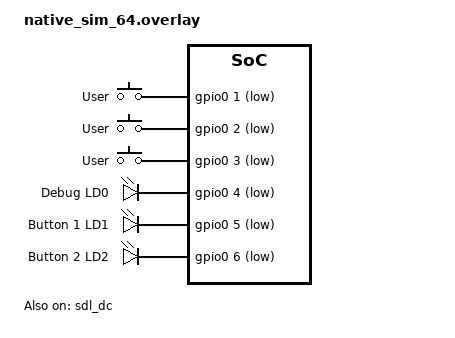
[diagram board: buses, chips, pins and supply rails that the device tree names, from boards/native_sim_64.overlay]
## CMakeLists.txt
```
# SPDX-License-Identifier: Apache-2.0

cmake_minimum_required(VERSION 3.20.0)

find_package(Zephyr REQUIRED HINTS $ENV{ZEPHYR_BASE})
project(cfb)

find_package(Git QUIET)

set(ASYNTH_BUILD_ID "b:unknown")
if(GIT_FOUND)
	execute_process(
		COMMAND ${GIT_EXECUTABLE} -C ${CMAKE_CURRENT_SOURCE_DIR}/.. rev-parse --short=7 HEAD
		RESULT_VARIABLE GIT_HASH_RESULT
		OUTPUT_VARIABLE GIT_HASH
		OUTPUT_STRIP_TRAILING_WHITESPACE
		ERROR_QUIET
	)

	if(GIT_HASH_RESULT EQUAL 0 AND NOT "${GIT_HASH}" STREQUAL "")
		set(ASYNTH_BUILD_ID "b:${GIT_HASH}")

		execute_process(
			COMMAND ${GIT_EXECUTABLE} -C ${CMAKE_CURRENT_SOURCE_DIR}/.. diff --quiet
			RESULT_VARIABLE GIT_DIRTY_RESULT
			OUTPUT_QUIET
			ERROR_QUIET
		)

		if(GIT_DIRTY_RESULT EQUAL 1)
			string(APPEND ASYNTH_BUILD_ID "*")
		endif()
	endif()
endif()

target_sources(app PRIVATE
	src/main.c
	src/asynth_cv.c
	src/asynth_midi.c
	src/asynth_osc_bridge.c
	src/asynth_display.c
	src/asynth_ui.c
)

target_compile_definitions(app PRIVATE ASYNTH_BUILD_ID="${ASYNTH_BUILD_ID}")
```

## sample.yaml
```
common:
  harness: asynthosc
  tags: asynthosc
sample:
  description: Asynthosc app testing
  name: App test
tests:
  app.test:
    platform_allow:
      - asynthosc
    extra_args: CONFIG_TEST=y
    tags: simple test
  sample.osc_sock_client:
    platform_allow:
      - asynthosc
    tags: sock client test
```

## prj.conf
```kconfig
CONFIG_STDOUT_CONSOLE=y
CONFIG_USE_DT_CODE_PARTITION=y

CONFIG_HEAP_MEM_POOL_SIZE=16384
CONFIG_MAIN_STACK_SIZE=4096
CONFIG_SYSTEM_WORKQUEUE_STACK_SIZE=2048

CONFIG_DISPLAY=y

CONFIG_LOG=y
CONFIG_PRINTK=y

CONFIG_CFB_LOG_LEVEL_INF=y
CONFIG_CHARACTER_FRAMEBUFFER=y

#CONFIG_DISPLAY_LOG_LEVEL_DBG=y

CONFIG_GPIO=y
CONFIG_ADC=y
CONFIG_DAC=y
CONFIG_UART_INTERRUPT_DRIVEN=y

# Persistent settings storage for menu-configured network parameters
CONFIG_FLASH=y
CONFIG_FLASH_MAP=y
CONFIG_SETTINGS=y
CONFIG_SETTINGS_RUNTIME=y
CONFIG_FCB=y
CONFIG_SETTINGS_FCB=y
CONFIG_SETTINGS_NVS=n
CONFIG_MPU_ALLOW_FLASH_WRITE=y

# TinyOSC library
CONFIG_TINYOSC=y

# Temporarily disable shell to isolate application boot.
# CONFIG_SHELL is not set

# Networking - Reactivated with PHY fix
CONFIG_NETWORKING=y
CONFIG_NET_L2_ETHERNET=y
CONFIG_MDIO=y
CONFIG_NET_IPV4=y
CONFIG_NET_IPV4_AUTO=y
CONFIG_NET_UDP=y
CONFIG_NET_DHCPV4=y
CONFIG_NET_SOCKETS=y
CONFIG_NET_SOCKETS_POLL_MAX=4
CONFIG_POSIX_API=y
CONFIG_NET_CONNECTION_MANAGER=y
CONFIG_ETH_STM32_HAL_RX_THREAD_STACK_SIZE=4096
CONFIG_ETH_STM32_HAL_RX_THREAD_PREEMPTIVE=n
CONFIG_ETH_STM32_HW_CHECKSUM=n
CONFIG_NET_PKT_RX_COUNT=16
CONFIG_NET_PKT_TX_COUNT=16
CONFIG_NET_BUF_RX_COUNT=80
CONFIG_NET_BUF_TX_COUNT=80
CONFIG_NET_CONTEXT_NET_PKT_POOL=y
CONFIG_NET_MAX_CONTEXTS=10
CONFIG_NET_IF_MAX_IPV4_COUNT=3
CONFIG_NET_CONFIG_SETTINGS=y
CONFIG_NET_CONFIG_MY_IPV4_ADDR="192.168.1.42"
CONFIG_NET_CONFIG_PEER_IPV4_ADDR="192.168.1.142"
CONFIG_NET_CONFIG_INIT_TIMEOUT=0
# Keep shell off while the app-side network reintegration is stabilized.
# CONFIG_NET_SHELL is not set
# CONFIG_NET_CONFIG_AUTO_INIT is not set

# Enable ETH driver debugging (comment out for production)
# CONFIG_ETHERNET_LOG_LEVEL_DBG=y

# Runtime timing metrics for show-mode validation
CONFIG_ASYNTH_TIMING_DIAG=y
```

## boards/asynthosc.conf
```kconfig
CONFIG_SSD1306_DEFAULT_CONTRAST=50
CONFIG_SSD1306=y
```

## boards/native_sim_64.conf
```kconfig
CONFIG_SDL_DISPLAY_DEFAULT_PIXEL_FORMAT_MONO01=y
CONFIG_INPUT=y
CONFIG_INPUT_LOG_LEVEL_DBG=y
```

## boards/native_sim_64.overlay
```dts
/*
 * Copyright (c) 2024, Eve Redero
 *
 * SPDX-License-Identifier: Apache-2.0
 */

#include <zephyr/dt-bindings/input/input-event-codes.h>
#include <zephyr/dt-bindings/lvgl/lvgl.h>

/ {
	gpio_keys {
		compatible = "gpio-keys";
		right_button: button_0 {
			label = "User";
			gpios = <&gpio0 1 GPIO_ACTIVE_LOW>;
			zephyr,code = <INPUT_KEY_RIGHT>;
		};
		left_button: button_1 {
			label = "User";
			gpios = <&gpio0 2 GPIO_ACTIVE_LOW>;
			zephyr,code = <INPUT_KEY_LEFT>;
		};
		rot_button: button_2 {
			label = "User";
			gpios = <&gpio0 3 GPIO_ACTIVE_LOW>;
			zephyr,code = <INPUT_KEY_ENTER>;
		};
	};
	leds {
		debug_led: led_0 {
			gpios = <&gpio0 4 GPIO_ACTIVE_LOW>;
			label = "Debug LD0";
		};
		right_button_led: led_1 {
			gpios = <&gpio0 5 GPIO_ACTIVE_LOW>;
			label = "Button 1 LD1";
		};
		left_button_led: led_2 {
			gpios = <&gpio0 6 GPIO_ACTIVE_LOW>;
			label = "Button 2 LD2";
		};
	};
};


&gpio0 {
	ngpios = <6>;

	sdl_gpio {
		status = "okay";
		compatible = "zephyr,gpio-emul-sdl";
		/* Scancodes correspond to USB HID decimal codes */
		/* not the usual AT-101 input codes. */
		/* Here, we map Left, Right, Enter */
		/* from HID keybord to GPIO0 1 to 3 */
		/* 79: Right, 80: Left, 40: Enter */
		scancodes = <0 79 80 40 2 3 4>;
	};
};

&sdl_dc {
        compatible = "zephyr,sdl-dc";
        status = "okay";
        height = <64>;
        width = <128>;
};
```

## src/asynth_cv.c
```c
/* SPDX-License-Identifier: Apache-2.0 */
/* Copyright (c) 2026 ASynthOSC contributors */

/*
 * Asynth CV/ADC helpers.
 */

#include <app/asynth_cv.h>

#include <zephyr/device.h>
#include <zephyr/display/cfb.h>
#include <zephyr/drivers/adc.h>
#include <zephyr/sys/util.h>
#include <app/asynth_osc_bridge.h>

#define CV_BAR_MAX_PIXELS     28U
#define CV_ADC_RESOLUTION     12U
#define CV_ADC_MAX_RAW        ((1U << CV_ADC_RESOLUTION) - 1U)

#define CV_CONFIG_NODE DT_PATH(zephyr_user)

#if !DT_NODE_EXISTS(CV_CONFIG_NODE)
#error "Missing devicetree node /zephyr,user"
#endif

BUILD_ASSERT(DT_NODE_HAS_PROP(CV_CONFIG_NODE, cv_channel_ids),
	     "Missing /zephyr,user cv-channel-ids");
BUILD_ASSERT(DT_NODE_HAS_PROP(CV_CONFIG_NODE, cv_display_remap),
	     "Missing /zephyr,user cv-display-remap");
BUILD_ASSERT(DT_PROP_LEN(CV_CONFIG_NODE, cv_channel_ids) == ASYNTH_CV_CHANNEL_COUNT,
	     "cv-channel-ids length must match ASYNTH_CV_CHANNEL_COUNT");
BUILD_ASSERT(DT_PROP_LEN(CV_CONFIG_NODE, cv_display_remap) == ASYNTH_CV_CHANNEL_COUNT,
	     "cv-display-remap length must match ASYNTH_CV_CHANNEL_COUNT");

#define CV_CHANNEL_ID_FROM_DTS(idx, _) DT_PROP_BY_IDX(CV_CONFIG_NODE, cv_channel_ids, idx)
#define CV_DISPLAY_REMAP_FROM_DTS(idx, _) DT_PROP_BY_IDX(CV_CONFIG_NODE, cv_display_remap, idx)

static const uint8_t cv_adc_channel_ids[ASYNTH_CV_CHANNEL_COUNT] = {
	LISTIFY(ASYNTH_CV_CHANNEL_COUNT, CV_CHANNEL_ID_FROM_DTS, (,))
};

/* ADC index -> UI and OSC CV index remap. */
static const uint8_t cv_display_remap[ASYNTH_CV_CHANNEL_COUNT] = {
	LISTIFY(ASYNTH_CV_CHANNEL_COUNT, CV_DISPLAY_REMAP_FROM_DTS, (,))
};

static const struct device *cv_adc_dev = DEVICE_DT_GET(DT_NODELABEL(adc1));
static const struct device *oled;

static int16_t cv_raw_samples[ASYNTH_CV_CHANNEL_COUNT];
static float cv_norm_values[ASYNTH_CV_CHANNEL_COUNT] = { 0.0f, 0.0f, 0.0f, 0.0f };
static float cv_prev_sent_values[ASYNTH_CV_CHANNEL_COUNT] = { -1.0f, -1.0f, -1.0f, -1.0f };
static uint8_t cv_pixels[ASYNTH_CV_CHANNEL_COUNT] = { 0, 0, 0, 0 };

static struct adc_sequence cv_adc_sequence = {
	.buffer = cv_raw_samples,
	.buffer_size = sizeof(cv_raw_samples),
	.resolution = CV_ADC_RESOLUTION,
	.channels = 0U,
};

static float clampf(float value, float min_val, float max_val)
{
	if (value < min_val) {
		return min_val;
	}
	if (value > max_val) {
		return max_val;
	}
	return value;
}

static float cv_raw_to_voltage(int16_t raw)
{
	int32_t safe_raw = raw;

	if (safe_raw < 0) {
		safe_raw = 0;
	}
	if (safe_raw > (int32_t)CV_ADC_MAX_RAW) {
		safe_raw = (int32_t)CV_ADC_MAX_RAW;
	}

	return ((float)safe_raw / (float)CV_ADC_MAX_RAW) * 3.3f;
}

static float cv_voltage_to_normalized(float voltage)
{
	return clampf(voltage / 3.3f, 0.0f, 1.0f);
}

static uint8_t cv_normalized_to_pixels(float normalized)
{
	float clamped = clampf(normalized, 0.0f, 1.0f);
	float scaled = clamped * (float)CV_BAR_MAX_PIXELS;

	return (uint8_t)(scaled + 0.5f);
}

static int cv_validate_remap(const uint8_t *remap, const char *name)
{
	uint32_t seen = 0U;

	for (int i = 0; i < ASYNTH_CV_CHANNEL_COUNT; i++) {
		if (remap[i] >= ASYNTH_CV_CHANNEL_COUNT) {
			printk("Invalid CV %s remap index %d -> %u\n",
			       name, i, (unsigned int)remap[i]);
			return -EINVAL;
		}

		if ((seen & BIT(remap[i])) != 0U) {
			printk("Duplicate CV %s remap value at index %d -> %u\n",
			       name, i, (unsigned int)remap[i]);
			return -EINVAL;
		}

		seen |= BIT(remap[i]);
	}

	return 0;
}

void asynth_cv_reset_display_cache(void)
{
	for (int i = 0; i < ASYNTH_CV_CHANNEL_COUNT; i++) {
		cv_pixels[i] = 0U;
	}
}

int asynth_cv_init(const struct device *display_dev)
{
	struct adc_channel_cfg channel_cfg = {
		.gain = ADC_GAIN_1,
		.reference = ADC_REF_INTERNAL,
		.acquisition_time = ADC_ACQ_TIME_DEFAULT,
	};
	int ret;

	oled = display_dev;

	ret = cv_validate_remap(cv_display_remap, "display");
	if (ret < 0) {
		return ret;
	}

	if (!device_is_ready(cv_adc_dev)) {
		printk("ADC device %s is not ready\n", cv_adc_dev->name);
		return -ENODEV;
	}

	for (int i = 0; i < ASYNTH_CV_CHANNEL_COUNT; i++) {
		channel_cfg.channel_id = cv_adc_channel_ids[i];
#if defined(CONFIG_ADC_CONFIGURABLE_INPUTS)
		channel_cfg.input_positive = cv_adc_channel_ids[i];
#endif
		ret = adc_channel_setup(cv_adc_dev, &channel_cfg);
		if (ret < 0) {
			printk("Failed to setup ADC channel %d (%d)\n", cv_adc_channel_ids[i], ret);
			return ret;
		}
		cv_adc_sequence.channels |= BIT(cv_adc_channel_ids[i]);
	}

	return 0;
}

int asynth_cv_sample_and_process(float hysteresis_norm)
{
	int ret = adc_read(cv_adc_dev, &cv_adc_sequence);

	if (ret < 0) {
		printk("ADC read failed (%d)\n", ret);
		return ret;
	}

	for (int i = 0; i < ASYNTH_CV_CHANNEL_COUNT; i++) {
		float voltage = cv_raw_to_voltage(cv_raw_samples[i]);
		float normalized = cv_voltage_to_normalized(voltage);
		float delta;

		cv_norm_values[i] = normalized;

		delta = normalized - cv_prev_sent_values[i];
		if (delta < 0.0f) {
			delta = -delta;
		}

		if (cv_prev_sent_values[i] < 0.0f || delta >= hysteresis_norm) {
			cv_prev_sent_values[i] = normalized;
			uint8_t cv_osc_idx = cv_display_remap[i];
			ret = asynth_osc_send_cv(cv_osc_idx, normalized);
			if (ret < 0) {
				printk("OSC send CV%d failed (%d)\n", cv_osc_idx + 1, ret);
			}
		}
	}

	return 0;
}

void asynth_cv_refresh_bars(void)
{
	if (!oled || !device_is_ready(oled)) {
		return;
	}

	for (int adc_idx = 0; adc_idx < ASYNTH_CV_CHANNEL_COUNT; adc_idx++) {
		uint8_t display_pos = cv_display_remap[adc_idx];
		uint8_t new_pixels = cv_normalized_to_pixels(cv_norm_values[adc_idx]);

		if (new_pixels == cv_pixels[display_pos]) {
			continue;
		}

		cfb_invert_area(oled, 82 + display_pos * 12, 18, 7, 29 - cv_pixels[display_pos]);
		cv_pixels[display_pos] = new_pixels;
		cfb_invert_area(oled, 82 + display_pos * 12, 18, 7, 29 - cv_pixels[display_pos]);
	}
}
```

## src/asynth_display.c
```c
/* SPDX-License-Identifier: Apache-2.0 */
/* Copyright (c) 2026 ASynthOSC contributors */

/*
 * Asynth display helpers for OLED status, cue, and activity indicators.
 */

#include <app/asynth_display.h>

#include <zephyr/display/cfb.h>
#include <zephyr/kernel.h>
#include <errno.h>
#include <stdio.h>
#include <string.h>

#define UI_STATUS_MSG_VISIBLE_CHARS      8U
#define UI_STATUS_MSG_MAX_LEN            64U
#define UI_STATUS_MSG_SCROLL_GAP         3U
#define UI_STATUS_MSG_SCROLL_INTERVAL_MS 180U

#define UI_STATUS_MSG_FONT_IDX           0U
#define UI_STATUS_MSG_X                  0U
#define UI_STATUS_MSG_Y                  33U
#define UI_NET_FONT_IDX                  0U
#define UI_NET_X                         68U
#define UI_NET_Y                         0U

#define TRIGGER_BLINK_DURATION_MS        100U

static const struct device *oled;

static bool trigger_1_active;
static bool trigger_2_active;
static bool midi_active;
static bool audio_active;
static bool audio_latched_on;
static bool net_latched_on;
static bool net_active;

static uint32_t trigger_1_blink_end_ms;
static uint32_t trigger_2_blink_end_ms;
static uint32_t midi_blink_end_ms;
static uint32_t audio_blink_end_ms;
static uint32_t net_blink_end_ms;

static char ui_status_msg[UI_STATUS_MSG_MAX_LEN + 1] = "";
static size_t ui_status_msg_len;
static size_t ui_status_msg_offset;
static int64_t ui_status_msg_next_scroll_ms;

static bool asynth_display_ready(void)
{
	return (oled != NULL) && device_is_ready(oled);
}

static int asynth_display_render_msg_window(void)
{
	char window[UI_STATUS_MSG_VISIBLE_CHARS + 1];
	size_t cycle_len;
	size_t i;

	if (!asynth_display_ready()) {
		return -ENODEV;
	}

	memset(window, ' ', UI_STATUS_MSG_VISIBLE_CHARS);

	if (ui_status_msg_len <= UI_STATUS_MSG_VISIBLE_CHARS) {
		memcpy(window, ui_status_msg, ui_status_msg_len);
	} else {
		cycle_len = ui_status_msg_len + UI_STATUS_MSG_SCROLL_GAP;
		for (i = 0U; i < UI_STATUS_MSG_VISIBLE_CHARS; i++) {
			size_t idx = (ui_status_msg_offset + i) % cycle_len;

			if (idx < ui_status_msg_len) {
				window[i] = ui_status_msg[idx];
			}
		}
	}

	window[UI_STATUS_MSG_VISIBLE_CHARS] = '\0';
	cfb_framebuffer_set_font(oled, UI_STATUS_MSG_FONT_IDX);
	cfb_set_kerning(oled, 0);
	cfb_print(oled, window, UI_STATUS_MSG_X, UI_STATUS_MSG_Y);
	return 0;
}

int asynth_display_init(const struct device *display_dev)
{
	oled = display_dev;
	ui_status_msg[0] = '\0';
	ui_status_msg_len = 0U;
	ui_status_msg_offset = 0U;
	ui_status_msg_next_scroll_ms = 0;
	asynth_display_reset_activity();

	if (!asynth_display_ready()) {
		return -ENODEV;
	}

	return 0;
}

int asynth_display_print_msg(const char *msg)
{
	char bounded_msg[UI_STATUS_MSG_MAX_LEN + 1];
	size_t len = 0U;
	bool changed;

	if (msg == NULL) {
		msg = "";
	}

	while ((len < UI_STATUS_MSG_MAX_LEN) && (msg[len] != '\0')) {
		len++;
	}

	memcpy(bounded_msg, msg, len);
	bounded_msg[len] = '\0';

	changed = (strcmp(ui_status_msg, bounded_msg) != 0);
	if (changed) {
		memcpy(ui_status_msg, bounded_msg, len + 1U);
		ui_status_msg_len = len;
		ui_status_msg_offset = 0U;
		ui_status_msg_next_scroll_ms = k_uptime_get() + UI_STATUS_MSG_SCROLL_INTERVAL_MS;
	}

	return asynth_display_render_msg_window();
}

bool asynth_display_tick_status_message_scroll(void)
{
	int64_t now_ms;
	size_t cycle_len;

	if (ui_status_msg_len <= UI_STATUS_MSG_VISIBLE_CHARS) {
		return false;
	}

	now_ms = k_uptime_get();
	if (now_ms < ui_status_msg_next_scroll_ms) {
		return false;
	}

	cycle_len = ui_status_msg_len + UI_STATUS_MSG_SCROLL_GAP;
	ui_status_msg_offset = (ui_status_msg_offset + 1U) % cycle_len;
	ui_status_msg_next_scroll_ms = now_ms + UI_STATUS_MSG_SCROLL_INTERVAL_MS;
	asynth_display_render_msg_window();
	return true;
}

int asynth_display_print_cue(uint32_t cue)
{
	char buffer[4];
	uint32_t safe_cue = cue % 1000U;

	if (!asynth_display_ready()) {
		return -ENODEV;
	}

	snprintf(buffer, sizeof(buffer), "%03u", (unsigned int)safe_cue);
	cfb_framebuffer_set_font(oled, 2);
	cfb_set_kerning(oled, 0);
	cfb_print(oled, buffer, 0, 0);
	return 0;
}

void asynth_display_clear_cue(void)
{
	if (!asynth_display_ready()) {
		return;
	}

	cfb_framebuffer_set_font(oled, 2);
	cfb_set_kerning(oled, 0);
	cfb_print(oled, "   ", 0, 0);
}

void asynth_display_act_t1(void)
{
	if (!asynth_display_ready()) {
		return;
	}

	cfb_invert_area(oled, 80, 0, 11, 14);
	trigger_1_active = true;
	trigger_1_blink_end_ms = k_uptime_get_32() + TRIGGER_BLINK_DURATION_MS;
}

void asynth_display_act_t2(void)
{
	if (!asynth_display_ready()) {
		return;
	}

	cfb_invert_area(oled, 116, 0, 11, 14);
	trigger_2_active = true;
	trigger_2_blink_end_ms = k_uptime_get_32() + TRIGGER_BLINK_DURATION_MS;
}

void asynth_display_act_m(void)
{
	if (!asynth_display_ready()) {
		return;
	}

	cfb_invert_area(oled, 92, 0, 11, 14);
	midi_active = true;
	midi_blink_end_ms = k_uptime_get_32() + TRIGGER_BLINK_DURATION_MS;
}

void asynth_display_act_a(void)
{
	if (!asynth_display_ready()) {
		return;
	}

	cfb_invert_area(oled, 104, 0, 11, 14);
	audio_active = true;
	audio_blink_end_ms = k_uptime_get_32() + TRIGGER_BLINK_DURATION_MS;
}

void asynth_display_set_a(bool on)
{
	if (!asynth_display_ready()) {
		return;
	}

	if (audio_latched_on == on) {
		return;
	}

	cfb_invert_area(oled, 104, 0, 11, 14);
	audio_latched_on = on;

	/* Cancel transient blink state when forcing a persistent visual state. */
	audio_active = false;
	audio_blink_end_ms = 0U;
}

void asynth_display_set_n(bool on)
{
	if (!asynth_display_ready()) {
		return;
	}

	if (net_latched_on == on) {
		return;
	}

	cfb_framebuffer_set_font(oled, UI_NET_FONT_IDX);
	cfb_set_kerning(oled, 2);
	cfb_print(oled, on ? "N" : " ", UI_NET_X, UI_NET_Y);
	net_latched_on = on;
	net_active = false;
	net_blink_end_ms = 0U;
}

void asynth_display_act_n(void)
{
	if (!asynth_display_ready() || !net_latched_on) {
		return;
	}

	cfb_invert_area(oled, UI_NET_X, UI_NET_Y, 11, 14);
	net_active = true;
	net_blink_end_ms = k_uptime_get_32() + TRIGGER_BLINK_DURATION_MS;
}

bool asynth_display_tick_activity(uint32_t now_ms)
{
	bool ui_dirty = false;

	if (!asynth_display_ready()) {
		return false;
	}

	if (trigger_1_active && (now_ms >= trigger_1_blink_end_ms)) {
		cfb_invert_area(oled, 80, 0, 11, 14);
		trigger_1_active = false;
		ui_dirty = true;
	}

	if (trigger_2_active && (now_ms >= trigger_2_blink_end_ms)) {
		cfb_invert_area(oled, 116, 0, 11, 14);
		trigger_2_active = false;
		ui_dirty = true;
	}

	if (midi_active && (now_ms >= midi_blink_end_ms)) {
		cfb_invert_area(oled, 92, 0, 11, 14);
		midi_active = false;
		ui_dirty = true;
	}

	if (audio_active && (now_ms >= audio_blink_end_ms)) {
		cfb_invert_area(oled, 104, 0, 11, 14);
		audio_active = false;
		ui_dirty = true;
	}

	if (net_active && (now_ms >= net_blink_end_ms)) {
		cfb_invert_area(oled, UI_NET_X, UI_NET_Y, 11, 14);
		net_active = false;
		ui_dirty = true;
	}

	return ui_dirty;
}

void asynth_display_reset_activity(void)
{
	trigger_1_active = false;
	trigger_2_active = false;
	midi_active = false;
	audio_active = false;
	audio_latched_on = false;
	net_latched_on = false;
	net_active = false;
	trigger_1_blink_end_ms = 0U;
	trigger_2_blink_end_ms = 0U;
	midi_blink_end_ms = 0U;
	audio_blink_end_ms = 0U;
	net_blink_end_ms = 0U;
}
```

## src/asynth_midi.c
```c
/* SPDX-License-Identifier: Apache-2.0 */
/* Copyright (c) 2026 ASynthOSC contributors */

/*
 * Asynth MIDI input helpers.
 */

#include <app/asynth_midi.h>

#include <zephyr/device.h>
#include <zephyr/drivers/uart.h>
#include <zephyr/kernel.h>
#include <zephyr/sys/atomic.h>
#include <app/asynth_osc_bridge.h>
#include <app/asynth_display.h>

#define MIDI_IN_NODE DT_NODELABEL(midi)
#define MIDI_IN_MSGQ_LEN 512U
#define MIDI_IN_DIAG_LOG_PERIOD_MS 30000U

#if !DT_NODE_HAS_STATUS(MIDI_IN_NODE, okay)
#error "Missing or disabled MIDI UART node 'midi' in board DTS"
#endif

static const struct device *const midi_in_uart_dev = DEVICE_DT_GET(MIDI_IN_NODE);

K_MSGQ_DEFINE(midi_in_msgq, sizeof(uint8_t), MIDI_IN_MSGQ_LEN, 1);

static atomic_t midi_in_drop_count = ATOMIC_INIT(0);
static volatile uint32_t midi_in_isr_rx_count;
static volatile uint32_t midi_in_poll_rx_count;
static volatile uint32_t midi_in_uart_err_count;
static volatile int midi_in_last_uart_err;

/* MIDI message handlers */
static asynth_midi_handler_t midi_note_handler;
static asynth_midi_handler_t midi_cc_handler;
static asynth_midi_handler_t midi_pc_handler;
static bool midi_note_forward_enabled;

/* MIDI parser state machine */
static uint8_t midi_running_status;
static uint8_t midi_data_bytes[2];
static uint8_t midi_data_count;

/* SysEx buffer (MMC, MTC Full Frame) */
#define MIDI_SYSEX_BUF_LEN 32U
static uint8_t midi_sysex_buf[MIDI_SYSEX_BUF_LEN];
static uint8_t midi_sysex_len;
static bool midi_in_sysex;

static void midi_in_uart_cb(const struct device *dev, void *user_data)
{
	uint8_t byte;

	ARG_UNUSED(user_data);

	if (!uart_irq_update(dev)) {
		return;
	}

	if (!uart_irq_rx_ready(dev)) {
		return;
	}

	while (uart_fifo_read(dev, &byte, 1) == 1) {
		midi_in_isr_rx_count++;
		if (k_msgq_put(&midi_in_msgq, &byte, K_NO_WAIT) != 0) {
			atomic_inc(&midi_in_drop_count);
		}
	}
}

int asynth_midi_init(void)
{
	int ret;
	struct uart_config cfg;

	if (!device_is_ready(midi_in_uart_dev)) {
		printk("MIDI IN: UART device not ready\n");
		return -ENODEV;
	}

	ret = uart_irq_callback_user_data_set(midi_in_uart_dev, midi_in_uart_cb, NULL);
	if (ret < 0) {
		if (ret == -ENOTSUP) {
			printk("MIDI IN: interrupt-driven UART API not enabled\n");
		} else if (ret == -ENOSYS) {
			printk("MIDI IN: UART device has no interrupt-driven support\n");
		} else {
			printk("MIDI IN: failed to set UART callback (%d)\n", ret);
		}

		return ret;
	}

	uart_irq_rx_enable(midi_in_uart_dev);

	ret = uart_config_get(midi_in_uart_dev, &cfg);
	if (ret == 0) {
		printk("MIDI IN: listening on %s @ %u baud\n",
		       midi_in_uart_dev->name,
		       (unsigned int)cfg.baudrate);
	} else {
		printk("MIDI IN: listening on %s\n", midi_in_uart_dev->name);
	}

	midi_running_status = 0;
	midi_data_count = 0;

	return 0;
}

void asynth_midi_poll_fallback(void)
{
	uint8_t byte;

	while (uart_poll_in(midi_in_uart_dev, &byte) == 0) {
		midi_in_poll_rx_count++;
		if (k_msgq_put(&midi_in_msgq, &byte, K_NO_WAIT) != 0) {
			atomic_inc(&midi_in_drop_count);
		}
	}
}

void asynth_midi_sample_uart_errors(void)
{
	int err = uart_err_check(midi_in_uart_dev);

	if (err != 0) {
		midi_in_uart_err_count++;
		midi_in_last_uart_err = err;
	}
}

void asynth_midi_log_diag(uint32_t *last_log_ms)
{
	static uint32_t prev_isr_count;
	static uint32_t prev_poll_count;
	static uint32_t prev_drop_count;
	static uint32_t prev_err_count;
	static int prev_last_err;
	uint32_t now_ms = k_uptime_get_32();
	uint32_t isr_count = midi_in_isr_rx_count;
	uint32_t poll_count = midi_in_poll_rx_count;
	uint32_t drop_count = (uint32_t)atomic_get(&midi_in_drop_count);
	uint32_t err_count = midi_in_uart_err_count;
	int last_err = midi_in_last_uart_err;
	bool changed;

	changed = (isr_count != prev_isr_count) ||
			  (poll_count != prev_poll_count) ||
			  (drop_count != prev_drop_count) ||
			  (err_count != prev_err_count) ||
			  (last_err != prev_last_err);

	if (!changed) {
		return;
	}

	if ((uint32_t)(now_ms - *last_log_ms) < MIDI_IN_DIAG_LOG_PERIOD_MS) {
		return;
	}

	*last_log_ms = now_ms;
	prev_isr_count = isr_count;
	prev_poll_count = poll_count;
	prev_drop_count = drop_count;
	prev_err_count = err_count;
	prev_last_err = last_err;

	printk("MIDI DIAG: isr=%u poll=%u drop=%u err=%u last_err=0x%x\n",
	       (unsigned int)isr_count,
	       (unsigned int)poll_count,
	       (unsigned int)drop_count,
	       (unsigned int)err_count,
	       (unsigned int)last_err);
}

static void midi_dispatch_sysex(const uint8_t *buf, uint8_t len)
{
	/* Require Universal Real-Time SysEx header: 7F <devID> ... */
	if (len < 4U || buf[0] != 0x7FU) {
		return;
	}

	/* MMC: F0 7F <devID> 06 <cmd> F7 → buf={7F devID 06 cmd}, len=4
	 * Map MMC transport commands to spec transport OSC paths. */
	if (buf[2] == 0x06U) {
		switch (buf[3]) {
		case 0x02U: /* Play */
		case 0x03U: /* Deferred Play */
			(void)asynth_osc_send_midi_start();
			break;
		case 0x01U: /* Stop */
		case 0x09U: /* Pause */
			(void)asynth_osc_send_midi_stop();
			break;
		default:
			break;
		}
		return;
	}

	/* MTC Full Frame: F0 7F <devID> 01 01 <hr> <mn> <se> <fr> F7
	 * → buf={7F devID 01 01 hr mn se fr}, len=8
	 * hr byte encodes frame rate (bits 6-5) and hours (bits 4-0).
	 * fps codes: 00=24, 01=25, 10=30DF (29.97), 11=30. */
	if (len >= 8U && buf[2] == 0x01U && buf[3] == 0x01U) {
		static const uint8_t fps_table[] = {24U, 25U, 30U, 30U};
		uint8_t hr = buf[4];
		uint8_t fps = fps_table[(hr >> 5) & 0x03U];

		(void)asynth_osc_send_midi_mtc_ff(
			hr & 0x1FU,
			buf[5],
			buf[6],
			buf[7],
			fps);
		return;
	}
}

static void midi_parse_and_dispatch(uint8_t byte)
{
	struct asynth_midi_msg msg;
	uint8_t status_nibble;

	/* System Real-Time (0xF8-0xFF): single byte, dispatch to OSC transport. */
	if (byte >= 0xF8U) {
		switch (byte) {
		case 0xF8U: /* MIDI Clock */
			(void)asynth_osc_send_midi_clock();
			break;
		case 0xFAU: /* Start */
			(void)asynth_osc_send_midi_start();
			break;
		case 0xFBU: /* Continue */
			(void)asynth_osc_send_midi_continue();
			break;
		case 0xFCU: /* Stop */
			(void)asynth_osc_send_midi_stop();
			break;
		default:
			break;
		}
		return;
	}

	/* SysEx in progress: collect bytes until 0xF7 end marker */
	if (midi_in_sysex) {
		if (byte == 0xF7U) {
			midi_in_sysex = false;
			midi_dispatch_sysex(midi_sysex_buf, midi_sysex_len);
		} else if (!(byte & 0x80U)) {
			if (midi_sysex_len < MIDI_SYSEX_BUF_LEN) {
				midi_sysex_buf[midi_sysex_len++] = byte;
			}
			/* else: buffer full, drop byte silently */
		} else {
			/* Unexpected status byte: abort SysEx, treat as new status */
			midi_in_sysex = false;
			midi_sysex_len = 0;
			midi_running_status = byte;
			midi_data_count = 0;
		}
		return;
	}

	if (byte & 0x80U) {
		/* Status byte */
		if (byte == 0xF0U) {
			/* SysEx start */
			midi_in_sysex = true;
			midi_sysex_len = 0;
			midi_running_status = 0;
			midi_data_count = 0;
			return;
		}

		/* Channel or System Common message */
		midi_running_status = byte;
		midi_data_count = 0;
		return;
	}

	/* Data byte */
	if (midi_running_status == 0) {
		return;
	}

	midi_data_bytes[midi_data_count++] = byte;

	status_nibble = midi_running_status & 0xF0U;
	msg.status = midi_running_status;
	msg.channel = midi_running_status & 0x0FU;
	msg.msg_type = (enum asynth_midi_msg_type)status_nibble;

	/* MTC Quarter Frame: 0xF1, 1 data byte (bits 6-4 = piece, bits 3-0 = value nibble) */
	if (midi_running_status == 0xF1U) {
		if (midi_data_count >= 1) {
			(void)asynth_osc_send_midi_mtc_qf(
				(midi_data_bytes[0] >> 4) & 0x07U,
				 midi_data_bytes[0] & 0x0FU);
			midi_data_count = 0;
		}
		return;
	}

	/* Song Position Pointer: 0xF2, 2 data bytes (LSB first), 14-bit value */
	if (midi_running_status == 0xF2U) {
		if (midi_data_count >= 2) {
			uint16_t pos = (uint16_t)(midi_data_bytes[0]) |
				      ((uint16_t)(midi_data_bytes[1]) << 7);

			(void)asynth_osc_send_midi_songpos(pos);
			midi_data_count = 0;
		}
		return;
	}

	/* Channel messages */
	switch (status_nibble) {
	case 0xC0: /* Program Change - 1 data byte */
	case 0xD0: /* Channel Pressure - 1 data byte */
		if (midi_data_count >= 1) {
			msg.data1 = midi_data_bytes[0];
			msg.data2 = 0;

			if (midi_pc_handler && status_nibble == 0xC0) {
				midi_pc_handler(&msg);
			}

			if (status_nibble == 0xC0) {
				(void)asynth_osc_send_midi_pc(msg.channel, msg.data1);
			}

			midi_data_count = 0;
		}
		break;

	case 0x80: /* Note Off - 2 data bytes */
	case 0x90: /* Note On - 2 data bytes */
	case 0xA0: /* Polyphonic Key Pressure - 2 data bytes */
	case 0xB0: /* Control Change - 2 data bytes */
	case 0xE0: /* Pitch Bend - 2 data bytes */
		if (midi_data_count >= 2) {
			msg.data1 = midi_data_bytes[0];
			msg.data2 = midi_data_bytes[1];

			if (status_nibble == 0x90) {
				/* Note On */
				if (midi_note_handler) {
					midi_note_handler(&msg);
				}
				if (midi_note_forward_enabled) {
					(void)asynth_osc_send_midi_note_on(msg.channel, msg.data1, msg.data2);
				}
			} else if (status_nibble == 0x80) {
				/* Note Off */
				if (midi_note_handler) {
					midi_note_handler(&msg);
				}
				if (midi_note_forward_enabled) {
					(void)asynth_osc_send_midi_note_off(msg.channel, msg.data1);
				}
			} else if (status_nibble == 0xB0) {
				/* Control Change */
				if (midi_cc_handler) {
					midi_cc_handler(&msg);
				}
				(void)asynth_osc_send_midi_cc(msg.channel, msg.data1, msg.data2);
			} else if (status_nibble == 0xE0) {
				/* Pitch Bend: LSB in data1, MSB in data2.
				 * Raw 14-bit value 0-16383, 8192=center (spec §8). */
				uint16_t bend = (uint16_t)(((uint16_t)msg.data2 << 7) |
							   (uint16_t)msg.data1);

				(void)asynth_osc_send_midi_pitch_bend(msg.channel, bend);
			}

			midi_data_count = 0;
		}
		break;

	default:
		break;
	}
}

bool asynth_midi_process_events(void)
{
	return asynth_midi_process_events_budget(UINT16_MAX);
}

bool asynth_midi_process_events_budget(uint16_t max_bytes)
{
	uint8_t byte;
	bool ui_dirty = false;
	uint16_t processed = 0U;

	while ((processed < max_bytes) && (k_msgq_get(&midi_in_msgq, &byte, K_NO_WAIT) == 0)) {
		midi_parse_and_dispatch(byte);
		asynth_display_act_m();
		ui_dirty = true;
		processed++;
	}

	return ui_dirty;
}

uint32_t asynth_midi_take_drop_count(void)
{
	return (uint32_t)atomic_set(&midi_in_drop_count, 0);
}

void asynth_midi_set_note_forward_enabled(bool enabled)
{
	midi_note_forward_enabled = enabled;
}

bool asynth_midi_is_note_forward_enabled(void)
{
	return midi_note_forward_enabled;
}

/* Handler registration */
void asynth_midi_set_note_handler(asynth_midi_handler_t handler)
{
	midi_note_handler = handler;
}

void asynth_midi_set_control_change_handler(asynth_midi_handler_t handler)
{
	midi_cc_handler = handler;
}

void asynth_midi_set_program_change_handler(asynth_midi_handler_t handler)
{
	midi_pc_handler = handler;
}
```

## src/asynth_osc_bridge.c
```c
/* SPDX-License-Identifier: Apache-2.0 */
/* Copyright (c) 2026 ASynthOSC contributors */

/*
 * Asynth OSC bridge (schema validation + transport hook).
 */

#include <app/asynth_osc_bridge.h>
#include <app/asynth_cv.h>

#include <errno.h>
#include <zephyr/sys/util.h>

#define MIDI_CHANNEL_MAX       15U
#define MIDI_DATA_MAX          127U
#define MIDI_PITCH_BEND_MAX    16383U
#define MIDI_SONGPOS_MAX       16383U
#define MIDI_MTC_PIECE_MAX     7U
#define MIDI_MTC_VALUE_MAX     15U
#define MIDI_MTC_FPS_MAX       30U

static bool transport_enabled;
static struct asynth_osc_transport_ops transport_ops;

static int asynth_osc_validate_cv(float normalized)
{
	if (normalized < 0.0f || normalized > 1.0f) {
		return -ERANGE;
	}

	return 0;
}

static int asynth_osc_validate_midi_channel(uint8_t channel)
{
	if (channel > MIDI_CHANNEL_MAX) {
		return -ERANGE;
	}

	return 0;
}

static int asynth_osc_validate_midi_data(uint8_t value)
{
	if (value > MIDI_DATA_MAX) {
		return -ERANGE;
	}

	return 0;
}

static int asynth_osc_stub_send(void)
{
	/* Transport intentionally disabled for now. */
	return 0;
}

void asynth_osc_set_transport_enabled(bool enabled)
{
	transport_enabled = enabled;
}

bool asynth_osc_is_transport_enabled(void)
{
	return transport_enabled;
}

void asynth_osc_set_transport_ops(const struct asynth_osc_transport_ops *ops)
{
	if (ops == NULL) {
		transport_ops.send_cv = NULL;
		transport_ops.send_trigger = NULL;
		transport_ops.send_midi_note_on = NULL;
		transport_ops.send_midi_note_off = NULL;
		transport_ops.send_midi_pc = NULL;
		transport_ops.send_midi_cc = NULL;
		transport_ops.send_midi_pitch_bend = NULL;
		transport_ops.send_midi_clock = NULL;
		transport_ops.send_midi_start = NULL;
		transport_ops.send_midi_stop = NULL;
		transport_ops.send_midi_continue = NULL;
		transport_ops.send_midi_songpos = NULL;
		transport_ops.send_midi_mtc_qf = NULL;
		transport_ops.send_midi_mtc_ff = NULL;
		return;
	}

	transport_ops.send_cv = ops->send_cv;
	transport_ops.send_trigger = ops->send_trigger;
	transport_ops.send_midi_note_on = ops->send_midi_note_on;
	transport_ops.send_midi_note_off = ops->send_midi_note_off;
	transport_ops.send_midi_pc = ops->send_midi_pc;
	transport_ops.send_midi_cc = ops->send_midi_cc;
	transport_ops.send_midi_pitch_bend = ops->send_midi_pitch_bend;
	transport_ops.send_midi_clock = ops->send_midi_clock;
	transport_ops.send_midi_start = ops->send_midi_start;
	transport_ops.send_midi_stop = ops->send_midi_stop;
	transport_ops.send_midi_continue = ops->send_midi_continue;
	transport_ops.send_midi_songpos = ops->send_midi_songpos;
	transport_ops.send_midi_mtc_qf = ops->send_midi_mtc_qf;
	transport_ops.send_midi_mtc_ff = ops->send_midi_mtc_ff;
}

int asynth_osc_send_cv(uint8_t cv_index, float normalized)
{
	int ret;

	if (cv_index >= ASYNTH_CV_CHANNEL_COUNT) {
		return -EINVAL;
	}

	ret = asynth_osc_validate_cv(normalized);
	if (ret < 0) {
		return ret;
	}

	if (transport_enabled) {
		if (transport_ops.send_cv == NULL) {
			return -ENOSYS;
		}

		return transport_ops.send_cv(cv_index, normalized);
	}

	ARG_UNUSED(cv_index);
	ARG_UNUSED(normalized);
	return asynth_osc_stub_send();
}

int asynth_osc_send_trigger(uint8_t trigger_index, bool active)
{
	if (trigger_index > 1U) {
		return -EINVAL;
	}

	if (transport_enabled) {
		if (transport_ops.send_trigger == NULL) {
			return -ENOSYS;
		}

		return transport_ops.send_trigger(trigger_index, active);
	}

	ARG_UNUSED(trigger_index);
	ARG_UNUSED(active);
	return asynth_osc_stub_send();
}

int asynth_osc_send_midi_note_on(uint8_t channel, uint8_t pitch, uint8_t velocity)
{
	int ret;

	ret = asynth_osc_validate_midi_channel(channel);
	if (ret < 0) {
		return ret;
	}

	ret = asynth_osc_validate_midi_data(pitch);
	if (ret < 0) {
		return ret;
	}

	ret = asynth_osc_validate_midi_data(velocity);
	if (ret < 0) {
		return ret;
	}

	if (transport_enabled) {
		if (transport_ops.send_midi_note_on == NULL) {
			return -ENOSYS;
		}

		return transport_ops.send_midi_note_on(channel, pitch, velocity);
	}

	ARG_UNUSED(channel);
	ARG_UNUSED(pitch);
	ARG_UNUSED(velocity);
	return asynth_osc_stub_send();
}

int asynth_osc_send_midi_note_off(uint8_t channel, uint8_t pitch)
{
	int ret;

	ret = asynth_osc_validate_midi_channel(channel);
	if (ret < 0) {
		return ret;
	}

	ret = asynth_osc_validate_midi_data(pitch);
	if (ret < 0) {
		return ret;
	}

	if (transport_enabled) {
		if (transport_ops.send_midi_note_off == NULL) {
			return -ENOSYS;
		}

		return transport_ops.send_midi_note_off(channel, pitch);
	}

	ARG_UNUSED(channel);
	ARG_UNUSED(pitch);
	return asynth_osc_stub_send();
}

int asynth_osc_send_midi_pc(uint8_t channel, uint8_t program)
{
	int ret;

	ret = asynth_osc_validate_midi_channel(channel);
	if (ret < 0) {
		return ret;
	}

	ret = asynth_osc_validate_midi_data(program);
	if (ret < 0) {
		return ret;
	}

	if (transport_enabled) {
		if (transport_ops.send_midi_pc == NULL) {
			return -ENOSYS;
		}

		return transport_ops.send_midi_pc(channel, program);
	}

	ARG_UNUSED(channel);
	ARG_UNUSED(program);
	return asynth_osc_stub_send();
}

int asynth_osc_send_midi_cc(uint8_t channel, uint8_t number, uint8_t value)
{
	int ret;

	ret = asynth_osc_validate_midi_channel(channel);
	if (ret < 0) {
		return ret;
	}

	ret = asynth_osc_validate_midi_data(number);
	if (ret < 0) {
		return ret;
	}

	ret = asynth_osc_validate_midi_data(value);
	if (ret < 0) {
		return ret;
	}

	if (transport_enabled) {
		if (transport_ops.send_midi_cc == NULL) {
			return -ENOSYS;
		}

		return transport_ops.send_midi_cc(channel, number, value);
	}

	ARG_UNUSED(channel);
	ARG_UNUSED(number);
	ARG_UNUSED(value);
	return asynth_osc_stub_send();
}

int asynth_osc_send_midi_pitch_bend(uint8_t channel, uint16_t value)
{
	int ret;

	ret = asynth_osc_validate_midi_channel(channel);
	if (ret < 0) {
		return ret;
	}

	if (value > MIDI_PITCH_BEND_MAX) {
		return -ERANGE;
	}

	if (transport_enabled) {
		if (transport_ops.send_midi_pitch_bend == NULL) {
			return -ENOSYS;
		}

		return transport_ops.send_midi_pitch_bend(channel, value);
	}

	ARG_UNUSED(channel);
	ARG_UNUSED(value);
	return asynth_osc_stub_send();
}

int asynth_osc_send_midi_clock(void)
{
	if (transport_enabled) {
		if (transport_ops.send_midi_clock == NULL) {
			return -ENOSYS;
		}

		return transport_ops.send_midi_clock();
	}

	return asynth_osc_stub_send();
}

int asynth_osc_send_midi_start(void)
{
	if (transport_enabled) {
		if (transport_ops.send_midi_start == NULL) {
			return -ENOSYS;
		}

		return transport_ops.send_midi_start();
	}

	return asynth_osc_stub_send();
}

int asynth_osc_send_midi_stop(void)
{
	if (transport_enabled) {
		if (transport_ops.send_midi_stop == NULL) {
			return -ENOSYS;
		}

		return transport_ops.send_midi_stop();
	}

	return asynth_osc_stub_send();
}

int asynth_osc_send_midi_continue(void)
{
	if (transport_enabled) {
		if (transport_ops.send_midi_continue == NULL) {
			return -ENOSYS;
		}

		return transport_ops.send_midi_continue();
	}

	return asynth_osc_stub_send();
}

int asynth_osc_send_midi_songpos(uint16_t pos)
{
	if (pos > MIDI_SONGPOS_MAX) {
		return -ERANGE;
	}

	if (transport_enabled) {
		if (transport_ops.send_midi_songpos == NULL) {
			return -ENOSYS;
		}

		return transport_ops.send_midi_songpos(pos);
	}

	ARG_UNUSED(pos);
	return asynth_osc_stub_send();
}

int asynth_osc_send_midi_mtc_qf(uint8_t piece, uint8_t value)
{
	if (piece > MIDI_MTC_PIECE_MAX) {
		return -EINVAL;
	}

	if (value > MIDI_MTC_VALUE_MAX) {
		return -EINVAL;
	}

	if (transport_enabled) {
		if (transport_ops.send_midi_mtc_qf == NULL) {
			return -ENOSYS;
		}

		return transport_ops.send_midi_mtc_qf(piece, value);
	}

	ARG_UNUSED(piece);
	ARG_UNUSED(value);
	return asynth_osc_stub_send();
}

int asynth_osc_send_midi_mtc_ff(uint8_t hour, uint8_t minute, uint8_t second,
				uint8_t frame, uint8_t fps)
{
	if (fps > MIDI_MTC_FPS_MAX) {
		return -ERANGE;
	}

	if (transport_enabled) {
		if (transport_ops.send_midi_mtc_ff == NULL) {
			return -ENOSYS;
		}

		return transport_ops.send_midi_mtc_ff(hour, minute, second, frame, fps);
	}

	ARG_UNUSED(hour);
	ARG_UNUSED(minute);
	ARG_UNUSED(second);
	ARG_UNUSED(frame);
	ARG_UNUSED(fps);
	return asynth_osc_stub_send();
}
```

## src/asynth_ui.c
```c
/* SPDX-License-Identifier: Apache-2.0 */
/* Copyright (c) 2026 ASynthOSC contributors */

/*
 * Asynth UI helpers (buttons, encoder).
 */

#include <app/asynth_ui.h>

#include <zephyr/irq.h>
#include <zephyr/kernel.h>
#include <zephyr/sys/util.h>
#include <errno.h>

static const struct gpio_dt_spec *s_left_button;
static const struct gpio_dt_spec *s_right_button;
static const struct gpio_dt_spec *s_rot_button;
static const struct gpio_dt_spec *s_rot_encoder_a;
static const struct gpio_dt_spec *s_rot_encoder_b;

static struct gpio_callback s_left_button_cb_data;
static struct gpio_callback s_right_button_cb_data;
static struct gpio_callback s_rot_button_cb_data;
static struct gpio_callback s_rot_encoder_b_cb_data;

static volatile bool s_left_button_pressed;
static volatile bool s_left_button_changed;
static volatile uint32_t s_left_button_last_irq_ms;

static volatile bool s_right_button_pressed;
static volatile bool s_right_button_changed;
static volatile uint32_t s_right_button_last_irq_ms;

static volatile bool s_rot_button_pressed;
static volatile bool s_rot_button_changed;
static volatile uint32_t s_rot_button_last_irq_ms;

static volatile int8_t s_rot_encoder_delta;
static volatile uint8_t s_rot_encoder_prev_state;

static bool s_rot_button_debounced_pressed;
static bool s_rot_button_raw_pressed_prev;
static uint32_t s_rot_button_last_raw_change_ms;
static bool s_rot_button_state_initialized;

static uint32_t s_button_debounce_ms;

bool asynth_ui_level_is_pressed(const struct gpio_dt_spec *button, int gpio_level)
{
	bool active_low = (button->dt_flags & GPIO_ACTIVE_LOW) != 0U;

	if (active_low) {
		return gpio_level == 0;
	}

	return gpio_level != 0;
}

int asynth_ui_pin_get_raw_dt(const struct gpio_dt_spec *spec)
{
	return gpio_pin_get_raw(spec->port, spec->pin);
}

static void button_irq_update(const struct gpio_dt_spec *button,
			      volatile bool *pressed_state,
			      volatile bool *changed_flag,
			      volatile uint32_t *last_irq_ms)
{
	uint32_t now_ms = k_uptime_get_32();
	int gpio_level;
	bool new_pressed_state;

	if ((uint32_t)(now_ms - *last_irq_ms) < s_button_debounce_ms) {
		return;
	}

	gpio_level = asynth_ui_pin_get_raw_dt(button);
	if (gpio_level < 0) {
		return;
	}

	new_pressed_state = asynth_ui_level_is_pressed(button, gpio_level);
	if (new_pressed_state != *pressed_state) {
		*pressed_state = new_pressed_state;
		*changed_flag = true;
		*last_irq_ms = now_ms;
	}
}

static void left_button_cb(const struct device *port, struct gpio_callback *cb, uint32_t pins)
{
	ARG_UNUSED(port);
	ARG_UNUSED(cb);
	ARG_UNUSED(pins);
	button_irq_update(s_left_button, &s_left_button_pressed, &s_left_button_changed,
			  &s_left_button_last_irq_ms);
}

static void right_button_cb(const struct device *port, struct gpio_callback *cb, uint32_t pins)
{
	ARG_UNUSED(port);
	ARG_UNUSED(cb);
	ARG_UNUSED(pins);
	button_irq_update(s_right_button, &s_right_button_pressed, &s_right_button_changed,
			  &s_right_button_last_irq_ms);
}

static void rot_button_cb(const struct device *port, struct gpio_callback *cb, uint32_t pins)
{
	ARG_UNUSED(port);
	ARG_UNUSED(cb);
	ARG_UNUSED(pins);
	button_irq_update(s_rot_button, &s_rot_button_pressed, &s_rot_button_changed,
			  &s_rot_button_last_irq_ms);
}

static int rotary_encoder_read_state(uint8_t *state_out)
{
	int level_a;
	int level_b;
	uint8_t state = 0U;

	level_a = asynth_ui_pin_get_raw_dt(s_rot_encoder_a);
	if (level_a < 0) {
		return level_a;
	}

	level_b = asynth_ui_pin_get_raw_dt(s_rot_encoder_b);
	if (level_b < 0) {
		return level_b;
	}

	if (asynth_ui_level_is_pressed(s_rot_encoder_a, level_a)) {
		state |= 0x2U;
	}
	if (asynth_ui_level_is_pressed(s_rot_encoder_b, level_b)) {
		state |= 0x1U;
	}

	*state_out = state;
	return 0;
}

static void rotary_encoder_irq_update(void)
{
	unsigned int key;
	uint8_t old_state;
	uint8_t old_b;
	uint8_t new_b;
	uint8_t a;
	uint8_t new_state;
	int16_t accum;
	int ret;

	ret = rotary_encoder_read_state(&new_state);
	if (ret < 0) {
		return;
	}

	key = irq_lock();
	old_state = s_rot_encoder_prev_state;
	old_b = old_state & 0x1U;
	new_b = new_state & 0x1U;

	if (new_b != old_b) {
		a = (new_state >> 1) & 0x1U;
		accum = (int16_t)s_rot_encoder_delta + ((a == new_b) ? -1 : 1);
		if (accum > 32) {
			accum = 32;
		} else if (accum < -32) {
			accum = -32;
		}
		s_rot_encoder_delta = (int8_t)accum;
	}
	
	s_rot_encoder_prev_state = new_state;
	irq_unlock(key);
}

static void rot_encoder_b_cb(const struct device *port, struct gpio_callback *cb, uint32_t pins)
{
	ARG_UNUSED(port);
	ARG_UNUSED(cb);
	ARG_UNUSED(pins);
	rotary_encoder_irq_update();
}

static int configure_button_interrupt(const struct gpio_dt_spec *button,
			      struct gpio_callback *cb_data,
			      gpio_callback_handler_t cb_handler)
{
	int ret;

	if (!device_is_ready(button->port)) {
		return -ENODEV;
	}

	ret = gpio_pin_configure_dt(button, GPIO_INPUT);
	if (ret < 0) {
		return ret;
	}

	ret = gpio_pin_interrupt_configure_dt(button, GPIO_INT_EDGE_BOTH);
	if (ret < 0) {
		return ret;
	}

	gpio_init_callback(cb_data, cb_handler, BIT(button->pin));
	ret = gpio_add_callback(button->port, cb_data);

	return ret;
}

int asynth_ui_input_init(const struct asynth_ui_input_pins *pins, uint32_t debounce_ms)
{
	int ret;
	int level;
	uint8_t encoder_state = 0U;

	if (!pins || !pins->left_button || !pins->right_button || !pins->rot_button ||
	    !pins->rot_encoder_a || !pins->rot_encoder_b) {
		return -EINVAL;
	}

	s_left_button = pins->left_button;
	s_right_button = pins->right_button;
	s_rot_button = pins->rot_button;
	s_rot_encoder_a = pins->rot_encoder_a;
	s_rot_encoder_b = pins->rot_encoder_b;
	s_button_debounce_ms = debounce_ms;

	ret = configure_button_interrupt(s_left_button, &s_left_button_cb_data, left_button_cb);
	if (ret < 0) {
		return ret;
	}

	ret = configure_button_interrupt(s_right_button, &s_right_button_cb_data, right_button_cb);
	if (ret < 0) {
		return ret;
	}

	ret = configure_button_interrupt(s_rot_button, &s_rot_button_cb_data, rot_button_cb);
	if (ret < 0) {
		return ret;
	}

	if (!device_is_ready(s_rot_encoder_a->port) || !device_is_ready(s_rot_encoder_b->port)) {
		return -ENODEV;
	}

	ret = gpio_pin_configure_dt(s_rot_encoder_a, GPIO_INPUT);
	if (ret < 0) {
		return ret;
	}

	ret = gpio_pin_configure_dt(s_rot_encoder_b, GPIO_INPUT);
	if (ret < 0) {
		return ret;
	}

	ret = gpio_pin_interrupt_configure_dt(s_rot_encoder_b, GPIO_INT_EDGE_BOTH);
	if (ret < 0) {
		return ret;
	}

	gpio_init_callback(&s_rot_encoder_b_cb_data, rot_encoder_b_cb, BIT(s_rot_encoder_b->pin));
	ret = gpio_add_callback(s_rot_encoder_b->port, &s_rot_encoder_b_cb_data);
	if (ret < 0) {
		return ret;
	}

	level = asynth_ui_pin_get_raw_dt(s_left_button);
	if (level >= 0) {
		s_left_button_pressed = asynth_ui_level_is_pressed(s_left_button, level);
	}

	level = asynth_ui_pin_get_raw_dt(s_right_button);
	if (level >= 0) {
		s_right_button_pressed = asynth_ui_level_is_pressed(s_right_button, level);
	}

	level = asynth_ui_pin_get_raw_dt(s_rot_button);
	s_rot_button_state_initialized = false;
	s_rot_button_debounced_pressed = false;
	s_rot_button_raw_pressed_prev = false;
	s_rot_button_last_raw_change_ms = k_uptime_get_32();
	if (level >= 0) {
		bool initial_rot_pressed = asynth_ui_level_is_pressed(s_rot_button, level);

		s_rot_button_pressed = initial_rot_pressed;
		s_rot_button_state_initialized = true;
		s_rot_button_debounced_pressed = initial_rot_pressed;
		s_rot_button_raw_pressed_prev = initial_rot_pressed;
	}

	if (rotary_encoder_read_state(&encoder_state) == 0) {
		s_rot_encoder_prev_state = encoder_state;
	}
	s_rot_encoder_delta = 0;

	return 0;
}

bool asynth_ui_input_pop_button_event(enum asynth_ui_button_id button, bool *pressed_state_out)
{
	volatile bool *changed_flag;
	volatile bool *pressed_state;
	unsigned int key;
	bool changed;

	if (!pressed_state_out) {
		return false;
	}

	switch (button) {
	case ASYNTH_UI_BUTTON_LEFT:
		changed_flag = &s_left_button_changed;
		pressed_state = &s_left_button_pressed;
		break;
	case ASYNTH_UI_BUTTON_RIGHT:
		changed_flag = &s_right_button_changed;
		pressed_state = &s_right_button_pressed;
		break;
	case ASYNTH_UI_BUTTON_ROT:
		changed_flag = &s_rot_button_changed;
		pressed_state = &s_rot_button_pressed;
		break;
	default:
		return false;
	}

	key = irq_lock();
	changed = *changed_flag;
	if (changed) {
		*changed_flag = false;
		*pressed_state_out = *pressed_state;
	}
	irq_unlock(key);

	return changed;
}

int8_t asynth_ui_input_pop_rotary_delta(void)
{
	unsigned int key;
	int8_t delta;

	key = irq_lock();
	delta = s_rot_encoder_delta;
	s_rot_encoder_delta = 0;
	irq_unlock(key);

	return delta;
}

bool asynth_ui_input_get_rot_button_debounced(uint32_t now_ms, bool *pressed_out)
{
	int level;
	bool raw_pressed;

	if (!pressed_out) {
		return false;
	}

	level = asynth_ui_pin_get_raw_dt(s_rot_button);
	if (level < 0) {
		*pressed_out = s_rot_button_debounced_pressed;
		return false;
	}

	raw_pressed = asynth_ui_level_is_pressed(s_rot_button, level);

	if (!s_rot_button_state_initialized) {
		s_rot_button_state_initialized = true;
		s_rot_button_raw_pressed_prev = raw_pressed;
		s_rot_button_debounced_pressed = raw_pressed;
		s_rot_button_last_raw_change_ms = now_ms;
	} else {
		if (raw_pressed != s_rot_button_raw_pressed_prev) {
			s_rot_button_raw_pressed_prev = raw_pressed;
			s_rot_button_last_raw_change_ms = now_ms;
		}

		if ((s_rot_button_debounced_pressed != s_rot_button_raw_pressed_prev) &&
		    ((uint32_t)(now_ms - s_rot_button_last_raw_change_ms) >= s_button_debounce_ms)) {
			s_rot_button_debounced_pressed = s_rot_button_raw_pressed_prev;
		}
	}

	*pressed_out = s_rot_button_debounced_pressed;
	return true;
}
```
